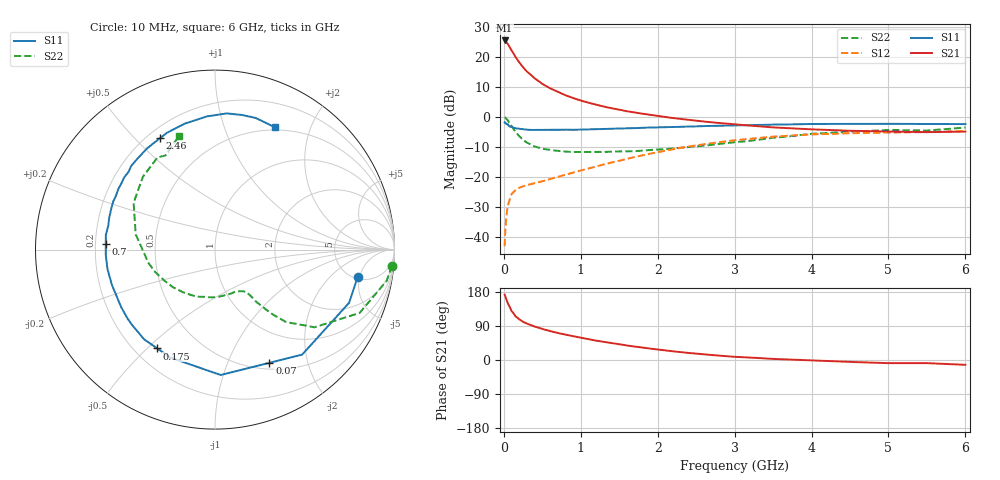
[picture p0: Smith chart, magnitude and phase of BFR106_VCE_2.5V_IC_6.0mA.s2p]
! Infineon Technologies  Discrete & RF Semiconductors
! BFR106
! VCE =  2.5 V,  IC =  6.0 mA
! Common Emitter S-Parameters:  Nov 2015
# GHz  S  MA  R  50
!  f  S11  S21  S12  S22
! GHz  MAG  ANG  MAG  ANG  MAG  ANG  MAG  ANG
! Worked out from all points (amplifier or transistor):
!   210 points, 10 MHz to 6 GHz, reference 50 ohm
!   highest |S21| = 25.5 dB at 10 MHz (marker M1)
!   |S21| within 3 dB of that: start of sweep to 93.56 MHz
!   unconditionally stable (mu >= 1): 585.1 MHz to 2.151 GHz; 4.511 GHz to end of sweep
!   at 185 MHz: K = 0.43, MSG = 21.3 dB, |S12| = -23.8 dB
!   at 1.52 GHz: K = 1.12, MAG = 6.3 dB, |S12| = -14.5 dB
!   at 6 GHz: K = 1.02, MAG = -1.0 dB, |S12| = -4.7 dB
!   S11 on the Smith chart (normalised r, x): 10 MHz: 5.26, -4.67; 70 MHz: 0.58, -1.43; 175 MHz: 0.29, -0.54; 700 MHz: 0.24, +0.02; 2.46 GHz: 0.25, +0.59; 6 GHz: 0.47, +1.51
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0.01  0.8095 -10.9  18.79 172.7  0.007 86.4  0.99 -5.2
0.02  0.804 -21.6  18.56 167.1  0.0139 79.7  0.9723 -10.3
0.05  0.7604 -50.3  16.56 149.5  0.0322 65.3  0.88 -23.6
0.07  0.7001 -64.3  14.9 142.7  0.0396 58.1  0.8035 -28.6
0.1  0.6995 -87.4  12.94 129.5  0.0515 51.4  0.7033 -38.0
0.15  0.6508 -112.4  10.05 115.6  0.0604 43.3  0.5638 -45.6
0.175  0.6378 -120.3  9.056 111.9  0.0631 41.5  0.5196 -47.0
0.2  0.6371 -128.3  8.114 107.3  0.0658 39.9  0.4758 -48.6
0.24  0.6243 -137.7  6.966 102.0  0.0689 38.8  0.4243 -50.0
0.3  0.6133 -148.4  5.7 95.7  0.0728 39.0  0.3727 -51.6
0.4  0.6072 -161.2  4.392 88.2  0.0787 40.8  0.3212 -52.5
0.5  0.6088 -169.7  3.548 81.8  0.0845 43.3  0.2946 -53.5
0.7  0.6087 177.1  2.608 71.3  0.0996 48.8  0.2714 -58.5
0.82  0.6125 171.4  2.247 66.1  0.1102 51.4  0.2629 -62.1
1.02  0.6168 162.1  1.839 58.0  0.1293 55.0  0.2606 -69.1
1.4  0.6359 148.0  1.392 44.8  0.1732 58.1  0.264 -85.9
2.02  0.6685 128.7  1.028 27.3  0.2611 55.4  0.2862 -117.9
2.46  0.6925 116.2  0.876 17.6  0.3284 49.9  0.319 -141.8
3.1  0.7248 101.2  0.732 7.4  0.4186 38.9  0.3877 -173.8
4.1  0.7615 83.8  0.613 -1.9  0.5146 20.6  0.5294 146.8
5.1  0.7657 71.7  0.567 -8.3  0.551 5.7  0.6023 121.2
6  0.7589 63.7  0.569 -12.7  0.5836 -4.7  0.6648 107.4
